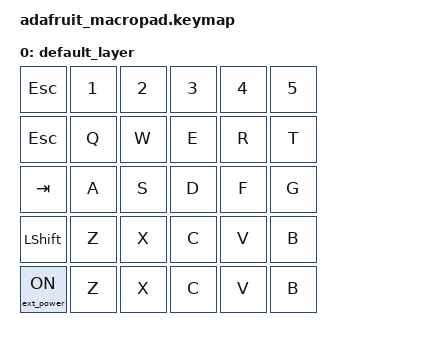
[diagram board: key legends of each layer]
#include <behaviors.dtsi>
#include <dt-bindings/zmk/keys.h>
#include <dt-bindings/zmk/ext_power.h>

/ {
    keymap {
        compatible = "zmk,keymap";

        default_layer {
// --------------------------------------------------------------------------------------------------------------------------------------------------------------------
// |  ESC    |    1    |    2    |    3    |    4    |    5    |				|    6    |    7    |    8    |    9    |    0    |    -    |
// |  TAB    |    Q    |    W    |    E    |    R    |    T    |				|    Y    |    U    |    I    |    O    |    P    |    \    |
// |  SHIFT  |    A    |    S    |    D    |    F    |    G    |				|    H    |    J    |    K    |    L    |    ;    |    '    | Control |    Z    |    X    |    C    |    V    |    B    |				|    N    |    M    |    ,    |    .    |    /    |  R CTRL |
// | Control |    Z    |    X    |    C    |    V    |    B    |				|    N    |    M    |    ,    |    .    |    /    |  R CTRL |
            bindings = <
    &kp ESC    &kp 1    &kp 2    &kp 3     &kp 4     &kp 5				        
    &kp ESC    &kp Q    &kp W    &kp E     &kp R     &kp T				        
    &kp TAB    &kp A    &kp S    &kp D     &kp F     &kp G				        
    &kp LSHIFT &kp Z    &kp X    &kp C     &kp V     &kp B				        
    &ext_power EP_ON  &kp Z    &kp X    &kp C     &kp V     &kp B				        

            >;
        };
    };
};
